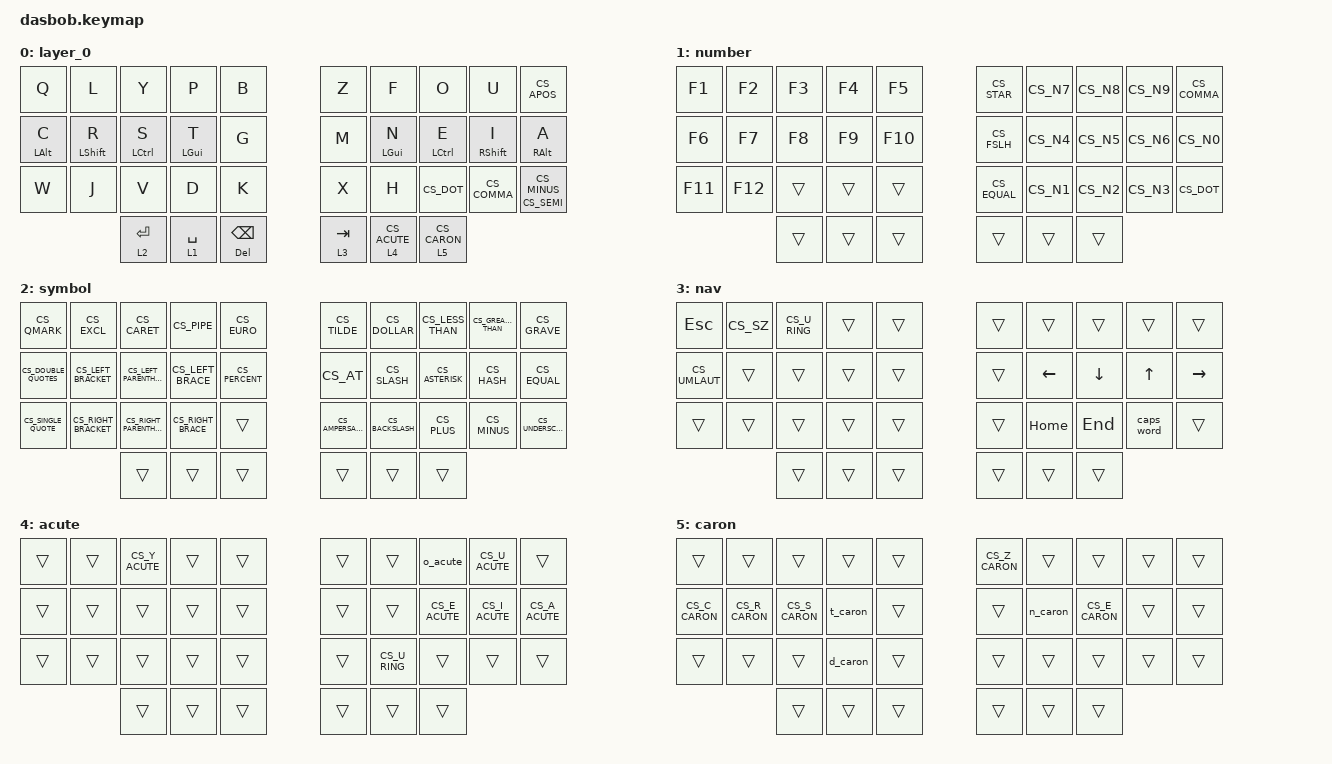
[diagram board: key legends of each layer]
#include "keys_cs.h"
#include <dt-bindings/zmk/mouse.h>

#define ZMK_POINTING_DEFAULT_MOVE_VAL 1500  // default: 600
#define ZMK_POINTING_DEFAULT_SCRL_VAL 20    // default: 10

#include <behaviors.dtsi>
#include <dt-bindings/zmk/keys.h>

&mmv { time-to-max-speed-ms = <600>; };

/ {
    behaviors {
        hm: homerow_mods {
            compatible = "zmk,behavior-hold-tap";
            label = "HOMEROW_MODS";
            bindings = <&kp>, <&kp>;

            #binding-cells = <2>;
            tapping-term-ms = <300>;
            quick-tap-ms = <0>;
            flavor = "tap-preferred";
        };

        // Diacritic layer-taps: no require-prior-idle so the chord still
        // works mid-word at full typing speed.
        ltd: layer_tap_diacritic {
            compatible = "zmk,behavior-hold-tap";
            label = "LAYER_TAP_DIACRITIC";
            bindings = <&mo>, <&kp>;

            #binding-cells = <2>;
            flavor = "balanced";
            tapping-term-ms = <280>;
            quick-tap-ms = <175>;
        };
    };

    macros {
        // Letters with no single keycode in cz(qwerty): dead key + letter.
        o_acute: o_acute {
            compatible = "zmk,behavior-macro";
            #binding-cells = <0>;
            bindings = <&macro_tap &kp CS_ACUTE &kp O>;
            label = "O_ACUTE";
        };

        t_caron: t_caron {
            compatible = "zmk,behavior-macro";
            #binding-cells = <0>;
            bindings = <&macro_tap &kp CS_CARON &kp T>;
            label = "T_CARON";
        };

        d_caron: d_caron {
            compatible = "zmk,behavior-macro";
            #binding-cells = <0>;
            bindings = <&macro_tap &kp CS_CARON &kp D>;
            label = "D_CARON";
        };

        n_caron: n_caron {
            compatible = "zmk,behavior-macro";
            #binding-cells = <0>;
            bindings = <&macro_tap &kp CS_CARON &kp N>;
            label = "N_CARON";
        };
    };

    combos {
        compatible = "zmk,combos";

        capsword {
            bindings = <&caps_word>;
            key-positions = <31 30>;
        };
    };

    keymap {
        compatible = "zmk,keymap";

        layer_0 {
            bindings = <
&kp Q            &kp L          &kp Y        &kp P        &kp B                 &kp Z      &kp F            &kp O         &kp U          &kp CS_APOS
&hm LEFT_ALT C  &hm LSHIFT R  &hm LCTRL S &hm LGUI T  &kp G                 &kp M      &hm LEFT_GUI N  &hm LCTRL E  &hm RSHIFT I  &hm RIGHT_ALT A
&kp W            &kp J          &kp V        &kp D        &kp K                 &kp X      &kp H            &kp CS_DOT    &kp CS_COMMA   &mt CS_SEMI CS_MINUS
                                &lt 2 ENTER  &lt 1 SPACE  &mt DELETE BACKSPACE  &lt 3 TAB  &ltd 4 CS_ACUTE  &ltd 5 CS_CARON
            >;
        };

        number {
            bindings = <
&kp F1   &kp F2   &kp F3  &kp F4  &kp F5   &kp CS_STAR   &kp CS_N7  &kp CS_N8  &kp CS_N9  &kp CS_COMMA
&kp F6   &kp F7   &kp F8  &kp F9  &kp F10  &kp CS_FSLH   &kp CS_N4  &kp CS_N5  &kp CS_N6  &kp CS_N0
&kp F11  &kp F12  &trans  &trans  &trans   &kp CS_EQUAL  &kp CS_N1  &kp CS_N2  &kp CS_N3  &kp CS_DOT
                  &trans  &trans  &trans   &trans        &trans     &trans
            >;
        };

        symbol {
            bindings = <
&kp CS_QMARK          &kp CS_EXCL           &kp CS_CARET              &kp CS_PIPE         &kp CS_EURO     &kp CS_TILDE      &kp CS_DOLLAR     &kp CS_LESS_THAN  &kp CS_GREATER_THAN  &kp CS_GRAVE
&kp CS_DOUBLE_QUOTES  &kp CS_LEFT_BRACKET   &kp CS_LEFT_PARENTHESIS   &kp CS_LEFT_BRACE   &kp CS_PERCENT  &kp CS_AT         &kp CS_SLASH      &kp CS_ASTERISK   &kp CS_HASH          &kp CS_EQUAL
&kp CS_SINGLE_QUOTE   &kp CS_RIGHT_BRACKET  &kp CS_RIGHT_PARENTHESIS  &kp CS_RIGHT_BRACE  &trans          &kp CS_AMPERSAND  &kp CS_BACKSLASH  &kp CS_PLUS       &kp CS_MINUS         &kp CS_UNDERSCORE
                                            &trans                    &trans              &trans          &trans            &trans            &trans
            >;
        };

        nav {
            bindings = <
&kp ESC        &kp CS_SZ      &kp CS_U_RING  &trans  &trans  &trans  &trans    &trans    &trans      &trans
&kp CS_UMLAUT  &trans         &trans         &trans  &trans  &trans  &kp LEFT  &kp DOWN  &kp UP      &kp RIGHT
&trans         &trans         &trans         &trans  &trans  &trans  &kp HOME  &kp END   &caps_word  &trans
                              &trans         &trans  &trans  &trans  &trans    &trans
            >;
        };

        acute {
            bindings = <
&trans  &trans  &kp CS_Y_ACUTE  &trans  &trans  &trans  &trans         &o_acute        &kp CS_U_ACUTE  &trans
&trans  &trans  &trans          &trans  &trans  &trans  &trans         &kp CS_E_ACUTE  &kp CS_I_ACUTE  &kp CS_A_ACUTE
&trans  &trans  &trans          &trans  &trans  &trans  &kp CS_U_RING  &trans          &trans          &trans
                &trans          &trans  &trans  &trans  &trans         &trans
            >;
        };

        caron {
            bindings = <
&trans          &trans          &trans          &trans    &trans  &kp CS_Z_CARON  &trans    &trans          &trans  &trans
&kp CS_C_CARON  &kp CS_R_CARON  &kp CS_S_CARON  &t_caron  &trans  &trans          &n_caron  &kp CS_E_CARON  &trans  &trans
&trans          &trans          &trans          &d_caron  &trans  &trans          &trans    &trans          &trans  &trans
                                &trans          &trans    &trans  &trans          &trans    &trans
            >;
        };
    };
};
